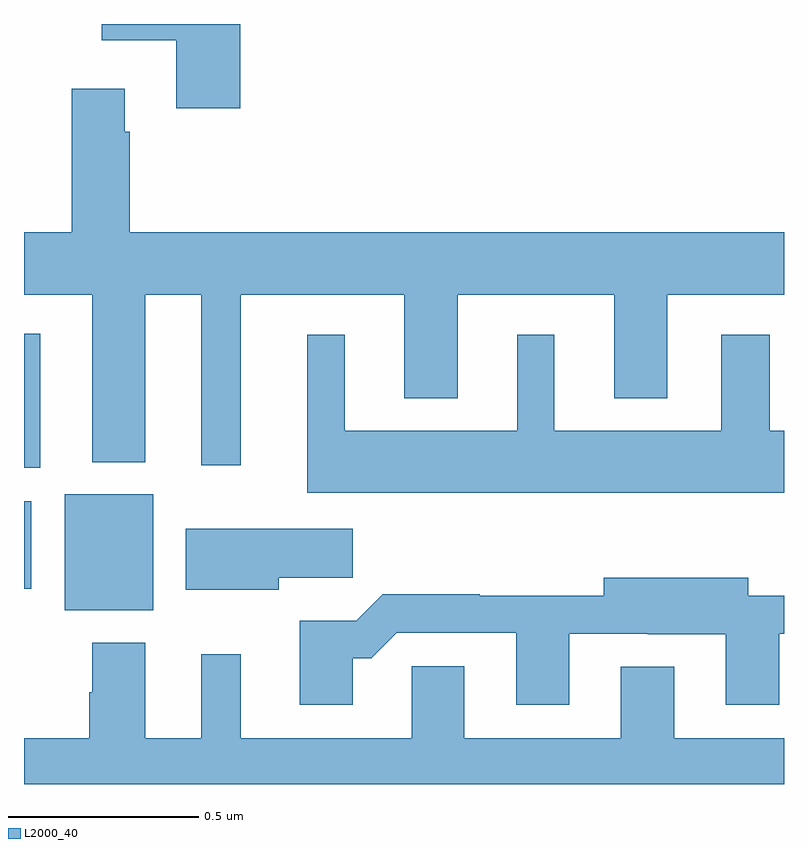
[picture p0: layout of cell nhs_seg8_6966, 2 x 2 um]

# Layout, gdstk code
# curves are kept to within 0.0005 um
import gdstk
lib = gdstk.Library(unit=1e-6, precision=1e-09)
def R(c, l, rs):  # rectangles x0, y0, x1, y1
    for r in rs: c.add(gdstk.rectangle(r[:2], r[2:], *l))
def P(c, l, *ps):  # polygons
    for p in ps: c.add(gdstk.Polygon(p, *l))
L2000_40 = (2000, 40)

nhs_seg8_6966 = lib.new_cell('nhs_seg8_6966')
R(nhs_seg8_6966, L2000_40, [(204.107,1094.357,204.34,1094.662), (204,1094.414,204.019,1094.644), (204,1094.732,204.043,1095.085)])
P(nhs_seg8_6966, L2000_40, [(204.569,1095.9),(204.204,1095.9),(204.204,1095.857),(204.401,1095.857),(204.401,1095.678),(204.569,1095.678)],
  [(204.571,1095.188),(205.001,1095.188),(205.001,1094.915),(205.141,1094.915),(205.141,1095.188),(205.553,1095.188),(205.553,1094.915),(205.693,1094.915),(205.693,1095.188),(206,1095.188),(206,1095.352),(204.278,1095.352),(204.278,1095.617),(204.265,1095.617),(204.265,1095.73),(204.125,1095.73),(204.125,1095.352),(204,1095.352),(204,1095.188),(204.179,1095.188),(204.179,1094.747),(204.319,1094.747),(204.319,1095.188),(204.467,1095.188),(204.467,1094.739),(204.571,1094.739)],
  [(206,1094.83),(205.963,1094.83),(205.963,1095.082),(205.835,1095.082),(205.835,1094.83),(205.396,1094.83),(205.396,1095.082),(205.298,1095.082),(205.298,1094.83),(204.844,1094.83),(204.844,1095.082),(204.746,1095.082),(204.746,1094.666),(206,1094.666)],
  [(204.67,1094.443),(204.865,1094.443),(204.865,1094.572),(204.426,1094.572),(204.426,1094.411),(204.67,1094.411)],
  [(204.865,1094.231),(204.914,1094.231),(204.981,1094.298),(205.295,1094.298),(205.295,1094.109),(205.435,1094.109),(205.435,1094.295),(205.847,1094.294),(205.847,1094.109),(205.987,1094.109),(205.987,1094.295),(206,1094.295),(206,1094.396),(205.906,1094.396),(205.906,1094.443),(205.526,1094.443),(205.526,1094.396),(205.199,1094.396),(205.199,1094.399),(204.944,1094.399),(204.874,1094.329),(204.725,1094.329),(204.725,1094.109),(204.865,1094.109)],
  [(206,1094.02),(205.711,1094.02),(205.711,1094.209),(205.571,1094.209),(205.571,1094.02),(205.159,1094.02),(205.159,1094.21),(205.02,1094.21),(205.02,1094.02),(204.571,1094.02),(204.571,1094.242),(204.467,1094.242),(204.467,1094.02),(204.319,1094.02),(204.319,1094.272),(204.179,1094.272),(204.179,1094.141),(204.172,1094.141),(204.172,1094.02),(204,1094.02),(204,1093.9),(206,1093.9)])

lib.write_gds('nhs_seg8_6966.gds')
